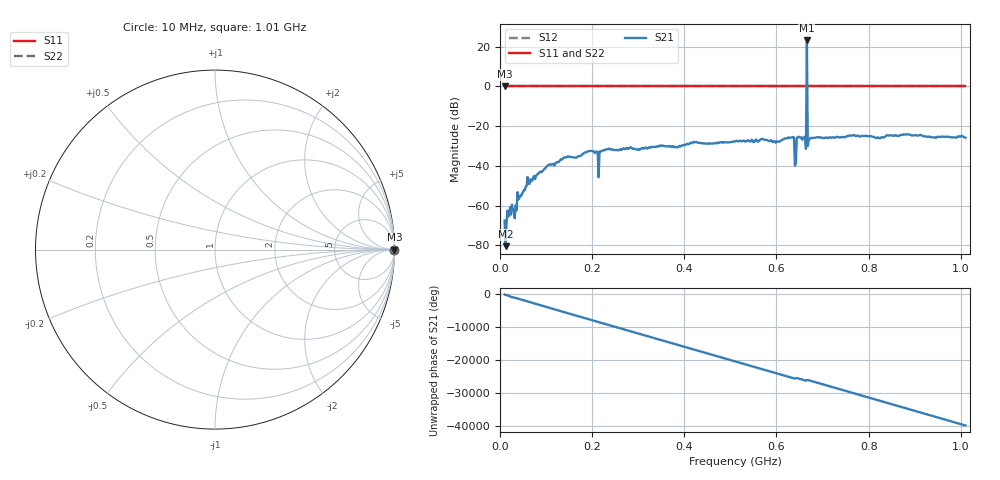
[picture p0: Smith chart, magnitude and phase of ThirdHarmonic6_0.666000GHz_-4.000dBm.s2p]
! 8/15/2025 10:08:42 PM
! C:\ANRITSUVNA\TEMP\TEMP.S2P
! CHANNEL.1
! TR.MEASUREMENT
! RAW.DATA
! RF.CORRECTION.OFF
! AVERAGING.OFF
! IF.BANDWIDTH: 5KHZ
! SWEEPTYPE:  FREQ.SWEEP(Linear)
! Reference Plane Port Info
! PORT:  PORT1  PORT2
! DISTANCE:  0  m  0  m
! TIME:  0  s  0  s
! PHASE.OFFSET:  0  deg.  0  deg.
! LOSS:  0  dB  0  dB
! REF.LOSS:  0  dB  0  dB
! REF.FREQ:  0  Hz  0  Hz
! Power Info
! POWER:  -20  dBm  -20  dBm
! EFF.POWER:  -20  dBm  -20  dBm
! SOURCE.ATTEN:  0  dB  0  dB
! TEST.ATTEN:  0  dB  0  dB
# GHZ S RI R 50.0
! FREQ.GHZ  S11RE  S11IM  S21RE  S21IM  S12RE  S12IM  S22RE  S22IM
!; PortSelection: Port_12
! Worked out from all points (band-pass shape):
!   501 points, 10 MHz to 1.01 GHz, reference 50 ohm
!   highest |S21| = 23.15 dB at 666 MHz (marker M1); lowest = -80.4 dB at 12 MHz (marker M2)
!   |S21| within 3 dB of the highest: 665.8901 MHz to 666.1129 MHz (222.8 kHz wide, 0.0335 % of centre)
!   lowest |S11| = 0.0 dB at 10 MHz (marker M3)
!   |S11| at or under -10 dB: nowhere
!   |S22| runs from 0.0 to 0.0 dB; largest |S21 - S12| = 15
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0.01  1 0  -0.000216 -0.000361  1 0  1 0
0.012  1 0  -2.74e-05 9.15e-05  1 0  1 0
0.02  1 0  -0.000677 -0.000185  1 0  1 0
0.032  1 0  0.00047 0.000103  1 0  1 0
0.042  1 0  0.00115 -0.00105  1 0  1 0
0.064  1 0  -0.00293 0.00195  1 0  1 0
0.106  1 0  -0.00766 -0.0072  1 0  1 0
0.178  1 0  -0.0188 -0.00381  1 0  1 0
0.344  1 0  0.0296 -0.0083  1 0  1 0
0.51  1 0  -0.0383 0.0164  1 0  1 0
0.634  1 0  -0.0438 -0.0295  1 0  1 0
0.638  1 0  0.0314 0.0412  1 0  1 0
0.642  1 0  0.00776 0.00819  1 0  1 0
0.648  1 0  0.0541 0.00634  1 0  1 0
0.66  1 0  -0.0225 -0.046  1 0  1 0
0.662  1 0  -0.0522 0.0156  1 0  1 0
0.666  1 0  -5.263 -13.38  1 0  1 0
0.67  1 0  -0.0443 -0.0136  1 0  1 0
0.672  1 0  -0.024 0.0415  1 0  1 0
0.678  1 0  -0.027 -0.0428  1 0  1 0
0.844  1 0  0.0458 0.0349  1 0  1 0
1.01  1 0  -0.0508 -0.00653  1 0  1 0
